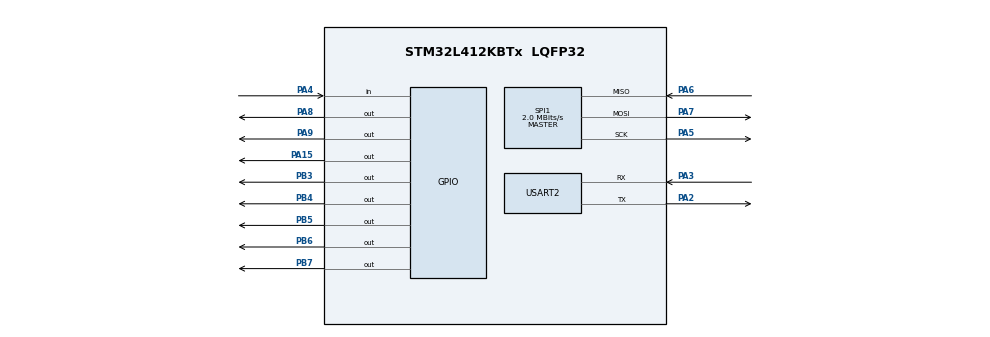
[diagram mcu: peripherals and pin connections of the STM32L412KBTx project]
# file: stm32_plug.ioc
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Mcu.Family=STM32L4
Mcu.Name=STM32L412KBTx
Mcu.Package=LQFP32
NVIC.PriorityGroup=NVIC_PRIORITYGROUP_4
PA13\ (JTMS/SWDIO).Mode=Serial_Wire
PA13\ (JTMS/SWDIO).Signal=SYS_JTMS-SWDIO
PA14\ (JTCK/SWCLK).Mode=Serial_Wire
PA14\ (JTCK/SWCLK).Signal=SYS_JTCK-SWCLK
PA15\ (JTDI).Signal=GPIO_Output
PA2.Mode=Asynchronous
PA2.Signal=USART2_TX
PA3.Mode=Asynchronous
PA3.Signal=USART2_RX
PA4.Signal=GPIO_Input
PA5.Mode=Full_Duplex_Master
PA5.Signal=SPI1_SCK
PA6.Mode=Full_Duplex_Master
PA6.Signal=SPI1_MISO
PA7.Mode=Full_Duplex_Master
PA7.Signal=SPI1_MOSI
PA8.Signal=GPIO_Output
PA9.Signal=GPIO_Output
PB3\ (JTDO/TRACESWO).GPIO_PuPd=GPIO_PULLUP
PB3\ (JTDO/TRACESWO).Signal=GPIO_Output
PB4\ (NJTRST).Signal=GPIO_Output
PB5.GPIO_PuPd=GPIO_PULLUP
PB5.Signal=GPIO_Output
PB6.GPIO_PuPd=GPIO_PULLUP
PB6.Signal=GPIO_Output
PB7.GPIO_PuPd=GPIO_PULLUP
PB7.Signal=GPIO_Output
ProjectManager.HeapSize=0x200
ProjectManager.StackSize=0x400
ProjectManager.TargetToolchain=STM32CubeIDE
RCC.ADCFreq_Value=4000000
RCC.HSE_VALUE=8000000
RCC.HSI48_VALUE=48000000
RCC.HSI_VALUE=16000000
RCC.LSE_VALUE=32768
RCC.MSI_VALUE=4000000
RCC.USBFreq_Value=4000000
RCC.VCOOutputFreq_Value=32000000
SPI1.CalculateBaudRate=2.0 MBits/s
SPI1.Direction=SPI_DIRECTION_2LINES
SPI1.Mode=SPI_MODE_MASTER
SPI1.VirtualType=VM_MASTER
USART2.VirtualMode-Asynchronous=VM_ASYNC
board=custom

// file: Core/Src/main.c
/* USER CODE BEGIN Header */
/**
  ******************************************************************************
  * @file           : main.c
  * @brief          : Main program body
  ******************************************************************************
  * @attention
  *
  * Copyright (c) 2023 STMicroelectronics.
  * All rights reserved.
  *
  * This software is licensed under terms that can be found in the LICENSE file
  * in the root directory of this software component.
  * If no LICENSE file comes with this software, it is provided AS-IS.
  *
  ******************************************************************************
  */
/* USER CODE END Header */
#include "main.h"

/* USER CODE BEGIN Includes */
#include "NRF24.h"
/* USER CODE END Includes */

SPI_HandleTypeDef hspi1;

UART_HandleTypeDef huart2;
DMA_HandleTypeDef hdma_usart2_rx;

void SystemClock_Config(void);
static void MX_GPIO_Init(void);
static void MX_DMA_Init(void);
static void MX_SPI1_Init(void);
static void MX_USART2_UART_Init(void);

int main(void)
{

  /* MCU Configuration--------------------------------------------------------*/

  /* Reset of all peripherals, Initializes the Flash interface and the Systick. */
  HAL_Init();

  /* Configure the system clock */
  SystemClock_Config();

  /* Initialize all configured peripherals */
  MX_GPIO_Init();
  MX_DMA_Init();
  MX_SPI1_Init();
  MX_USART2_UART_Init();
  /* USER CODE BEGIN 2 */

  //Constants and variables declaration
  uint8_t SPI_CE_Pin = 9;
  uint8_t SPI_CS_Pin = 8;
  uint8_t Data_Latch_Pin = 4;
  uint8_t Data_Clock_Pin = 3;
  uint8_t Serial_Data_Pin = 5;
  GPIO_PinState Data_Latch = GPIO_PIN_RESET;
  GPIO_PinState Data_Clock = GPIO_PIN_RESET;
  GPIO_PinState Serial_Data = GPIO_PIN_RESET;

  uint8_t Serial_Data_2_Pin = 6;
  uint8_t IO_Bit=7;
  uint8_t Pairing_Button = 4;

  uint8_t i = 0;

  //Pin (bit) number of the different buttons
  uint16_t B_Pin = 11;
  uint16_t Y_Pin = 9;
  uint16_t Select_Pin = 12;
  uint16_t Start_Pin = 4;
  uint16_t Cross_Up_Pin = 0;
  uint16_t Cross_Down_Pin = 1;
  uint16_t Cross_Left_Pin = 2;
  uint16_t Cross_Right_Pin = 3;
  uint16_t A_Pin = 10;
  uint16_t X_Pin = 8;
  uint16_t L_Pin = 13;
  uint16_t R_Pin = 5;

  uint16_t SPI_Data = 16;
  uint8_t Bit_Number[16] = {B_Pin, Y_Pin, Select_Pin, Start_Pin, Cross_Up_Pin, Cross_Down_Pin, Cross_Left_Pin, Cross_Right_Pin, A_Pin, X_Pin, L_Pin, R_Pin, 0, 0, 0, 0};
  uint8_t step = 0;

  //NRF24 Initialization
  NRF24_begin(hspi1);
  NRF24_setAutoAck(true);
  NRF24_setChannel(52);
  NRF24_setPayloadSize(32);
  NRF24_openReadingPipe(1, RxpipeAddrs);
  NRF24_enableDynamicPayloads();
  NRF24_enableAckPayload();

  NRF24_startListening();

  HAL_Delay(1000);

  /* USER CODE END 2 */

  /* Infinite loop */
  /* USER CODE BEGIN WHILE */
  while (1)
  {

	  //Loop that detects the Data_Latch rising edge while updating the controller state
	  do {
		  //Wireless data reception
			NRF24_read(myRxData, 2);
			NRF24_writeAckPayload(1, myAckPayload, 2);

		  Data_Latch = HAL_GPIO_ReadPin(GPIOB, Data_Latch_Pin);
	  }
	  while(Data_Latch == 0);

	  //When the rising edge is detected, transmission of the button states begins:
	  for(i=0;i<16; i++){

		  if ((SPI_Data && Bit_Number[i]) == 0){
			  HAL_GPIO_WritePin(GPIOB, Serial_Data_Pin, GPIO_PIN_SET);
		  }
		  else{
			  HAL_GPIO_WritePin(GPIOB, Serial_Data_Pin, GPIO_PIN_RESET);
		  }

		  do{
			  Data_Clock = HAL_GPIO_ReadPin(GPIOB, Data_Clock_Pin);
		  }
		  while(Data_Clock == 1);
		  do{
			  Data_Clock = HAL_GPIO_ReadPin(GPIOB, Data_Clock_Pin);
		  }
		  while(Data_Clock == 0);
	  }
	  HAL_GPIO_WritePin(GPIOB, Serial_Data_Pin, GPIO_PIN_RESET);
	  if(step<600){
		  if(SPI_Data ==0){
	  	  		  SPI_Data = 16;
	  	  	  }
	  	  else{
	  	  		  SPI_Data = 0;
	  	  	  }
	  }
	  if((step>=600)){
		  if(SPI_Data ==0){
			  SPI_Data = 1024;
		  }
		  else{
			  SPI_Data = 0;
		  	  }

	  }
	  step++;
	  HAL_UART_Transmit(&huart2,&step,1,HAL_MAX_DELAY);
    /* USER CODE END WHILE */

  }
}

void SystemClock_Config(void)
{
  RCC_OscInitTypeDef RCC_OscInitStruct = {0};
  RCC_ClkInitTypeDef RCC_ClkInitStruct = {0};

  /** Configure the main internal regulator output voltage
  */
  if (HAL_PWREx_ControlVoltageScaling(PWR_REGULATOR_VOLTAGE_SCALE1) != HAL_OK)
  {
    Error_Handler();
  }

  /** Initializes the RCC Oscillators according to the specified parameters
  * in the RCC_OscInitTypeDef structure.
  */
  RCC_OscInitStruct.OscillatorType = RCC_OSCILLATORTYPE_MSI;
  RCC_OscInitStruct.MSIState = RCC_MSI_ON;
  RCC_OscInitStruct.MSICalibrationValue = 0;
  RCC_OscInitStruct.MSIClockRange = RCC_MSIRANGE_6;
  RCC_OscInitStruct.PLL.PLLState = RCC_PLL_NONE;
  if (HAL_RCC_OscConfig(&RCC_OscInitStruct) != HAL_OK)
  {
    Error_Handler();
  }

  /** Initializes the CPU, AHB and APB buses clocks
  */
  RCC_ClkInitStruct.ClockType = RCC_CLOCKTYPE_HCLK|RCC_CLOCKTYPE_SYSCLK
                              |RCC_CLOCKTYPE_PCLK1|RCC_CLOCKTYPE_PCLK2;
  RCC_ClkInitStruct.SYSCLKSource = RCC_SYSCLKSOURCE_MSI;
  RCC_ClkInitStruct.AHBCLKDivider = RCC_SYSCLK_DIV1;
  RCC_ClkInitStruct.APB1CLKDivider = RCC_HCLK_DIV1;
  RCC_ClkInitStruct.APB2CLKDivider = RCC_HCLK_DIV1;

  if (HAL_RCC_ClockConfig(&RCC_ClkInitStruct, FLASH_LATENCY_0) != HAL_OK)
  {
    Error_Handler();
  }
}

static void MX_SPI1_Init(void)
{

  /* SPI1 parameter configuration*/
  hspi1.Instance = SPI1;
  hspi1.Init.Mode = SPI_MODE_MASTER;
  hspi1.Init.Direction = SPI_DIRECTION_2LINES;
  hspi1.Init.DataSize = SPI_DATASIZE_4BIT;
  hspi1.Init.CLKPolarity = SPI_POLARITY_LOW;
  hspi1.Init.CLKPhase = SPI_PHASE_1EDGE;
  hspi1.Init.NSS = SPI_NSS_SOFT;
  hspi1.Init.BaudRatePrescaler = SPI_BAUDRATEPRESCALER_2;
  hspi1.Init.FirstBit = SPI_FIRSTBIT_MSB;
  hspi1.Init.TIMode = SPI_TIMODE_DISABLE;
  hspi1.Init.CRCCalculation = SPI_CRCCALCULATION_DISABLE;
  hspi1.Init.CRCPolynomial = 7;
  hspi1.Init.CRCLength = SPI_CRC_LENGTH_DATASIZE;
  hspi1.Init.NSSPMode = SPI_NSS_PULSE_ENABLE;
  if (HAL_SPI_Init(&hspi1) != HAL_OK)
  {
    Error_Handler();
  }

}

static void MX_USART2_UART_Init(void)
{

  huart2.Instance = USART2;
  huart2.Init.BaudRate = 9600;
  huart2.Init.WordLength = UART_WORDLENGTH_8B;
  huart2.Init.StopBits = UART_STOPBITS_1;
  huart2.Init.Parity = UART_PARITY_NONE;
  huart2.Init.Mode = UART_MODE_TX_RX;
  huart2.Init.HwFlowCtl = UART_HWCONTROL_NONE;
  huart2.Init.OverSampling = UART_OVERSAMPLING_16;
  huart2.Init.OneBitSampling = UART_ONE_BIT_SAMPLE_DISABLE;
  huart2.AdvancedInit.AdvFeatureInit = UART_ADVFEATURE_NO_INIT;
  if (HAL_UART_Init(&huart2) != HAL_OK)
  {
    Error_Handler();
  }

}

static void MX_DMA_Init(void)
{

  /* DMA controller clock enable */
  __HAL_RCC_DMA1_CLK_ENABLE();

  /* DMA interrupt init */
  /* DMA1_Channel6_IRQn interrupt configuration */
  HAL_NVIC_SetPriority(DMA1_Channel6_IRQn, 0, 0);
  HAL_NVIC_EnableIRQ(DMA1_Channel6_IRQn);

}

static void MX_GPIO_Init(void)
{
  GPIO_InitTypeDef GPIO_InitStruct = {0};

  /* GPIO Ports Clock Enable */
  __HAL_RCC_GPIOA_CLK_ENABLE();
  __HAL_RCC_GPIOB_CLK_ENABLE();

  /*Configure GPIO pin Output Level */
  HAL_GPIO_WritePin(GPIOA, GPIO_PIN_8|GPIO_PIN_9|GPIO_PIN_15, GPIO_PIN_RESET);

  /*Configure GPIO pin Output Level */
  HAL_GPIO_WritePin(GPIOB, GPIO_PIN_3|GPIO_PIN_4|GPIO_PIN_5|GPIO_PIN_6
                          |GPIO_PIN_7, GPIO_PIN_RESET);

  /*Configure GPIO pin : PA4 */
  GPIO_InitStruct.Pin = GPIO_PIN_4;
  GPIO_InitStruct.Mode = GPIO_MODE_INPUT;
  GPIO_InitStruct.Pull = GPIO_NOPULL;
  HAL_GPIO_Init(GPIOA, &GPIO_InitStruct);

  /*Configure GPIO pins : PA8 PA9 PA15 */
  GPIO_InitStruct.Pin = GPIO_PIN_8|GPIO_PIN_9|GPIO_PIN_15;
  GPIO_InitStruct.Mode = GPIO_MODE_OUTPUT_PP;
  GPIO_InitStruct.Pull = GPIO_NOPULL;
  GPIO_InitStruct.Speed = GPIO_SPEED_FREQ_LOW;
  HAL_GPIO_Init(GPIOA, &GPIO_InitStruct);

  /*Configure GPIO pins : PB3 PB5 PB6 PB7 */
  GPIO_InitStruct.Pin = GPIO_PIN_3|GPIO_PIN_5|GPIO_PIN_6|GPIO_PIN_7;
  GPIO_InitStruct.Mode = GPIO_MODE_OUTPUT_PP;
  GPIO_InitStruct.Pull = GPIO_PULLUP;
  GPIO_InitStruct.Speed = GPIO_SPEED_FREQ_LOW;
  HAL_GPIO_Init(GPIOB, &GPIO_InitStruct);

  /*Configure GPIO pin : PB4 */
  GPIO_InitStruct.Pin = GPIO_PIN_4;
  GPIO_InitStruct.Mode = GPIO_MODE_OUTPUT_PP;
  GPIO_InitStruct.Pull = GPIO_NOPULL;
  GPIO_InitStruct.Speed = GPIO_SPEED_FREQ_LOW;
  HAL_GPIO_Init(GPIOB, &GPIO_InitStruct);

}

void Error_Handler(void)
{
  __disable_irq();
  while (1)
  {
  }
}
